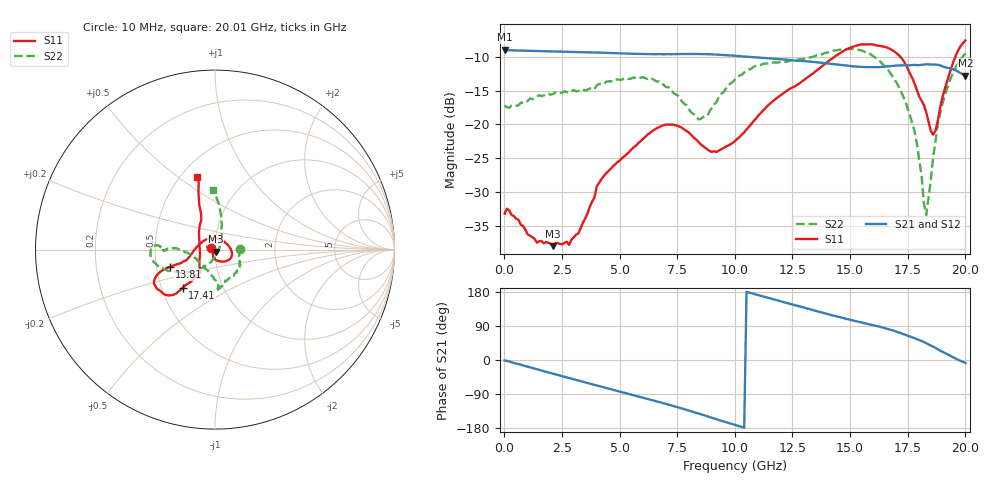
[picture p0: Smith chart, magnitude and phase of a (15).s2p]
! Hittite Microwave Corporation
! 2 Elizabeth Drive
! Chelmsford, MA 01824
! http://www.hittite.com
! Tel: 978-250-3343
! Fax: 978-250-3373
! Device:  HMC424LP3
! Description: 0.5 dB GaAs MMIC 6-Bit Digital Attenuator
! Frequency:  DC -  13.00 GHz
! Package:  LP3  - 3x3 mm Quad Flatpack No-Lead (QFN) Plastic Package: 16 pin
! Ports:  2 RF, 7 DC
!  Pad  1  = Ground
!  Pad  2  = RF IN  = Port 1
!  Pad  3  = Ground
!  Pad  4  = V6
!  Pad  5  = V5
!  Pad  6  = V4
!  Pad  7  = V3
!  Pad  8  = V2
!  Pad  9  = V1
!  Pad 10  = Ground
!  Pad 11  = RF OUT  = Port 2
!  Pad 12  = Ground
!  Pad 15  = VEE
! Control:  -5 Volt control voltage
! State:  13
! Attenuation:  6.5 dB
! Voltages:  Vdd = -5.00 Volts  Idd =  -2.565 mA
!  V1  = -5.00 Volts  I1  =  -1.0 uA
!  V2  = 0.00 Volts  I2  =  29.0 uA
!  V3  = -5.00 Volts  I3  =  -1.0 uA
!  V4  = -5.00 Volts  I4  =  -1.0 uA
!  V5  = 0.00 Volts  I5  =  29.0 uA
!  V6  = 0.00 Volts  I6  =  30.0 uA
! Data:  The device was measured on evaluation board 105354-1.
!  Data was collected using a calibrated network analyzer.
!  The evaluation circuit board was modeled and simulated.  This was use
!  to removed the evaluation board circuit from the measured data.
!  The reference plane is the edge of the package pin.
! Misc:  Lot xxxx, Unit 1
!  Application 20120001, Data collected in Application 20090083
! Date Measured:  2009-09-15
! Date:  2012-05-14  MJV
! Note:
!  Hittite supplies this data as a sample of measured data at the package pin
!  for this product.  Your particular data for this product may vary.
!  Data was taken at 25 degrees C.
!  Hittite reserves the right to change this data at anytime.
# GHz S MA R 50
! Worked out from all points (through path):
!   201 points, 10 MHz to 20.01 GHz, reference 50 ohm
!   highest |S21| = -8.95 dB at 10 MHz (marker M1); lowest = -12.8 dB at 20.01 GHz (marker M2)
!   group delay of S21, straight-line fit = 48.3 ps
!   lowest |S11| = -38.0 dB at 2.11 GHz (marker M3), VSWR 1.03, Z = 50.4 - j1.21 ohm
!   |S11| at or under -10 dB: start of sweep to 14.34 GHz; 17.18 GHz to 19.58 GHz (2.395 GHz wide, 13 % of centre)
!   |S22| runs from -33.4 to -8.8 dB; largest |S21 - S12| = 0.0017
!   S11 on the Smith chart (normalised r, x): 10 MHz: 0.96, +0.01; 13.81 GHz: 0.59, -0.12; 17.41 GHz: 0.64, -0.30; 20.01 GHz: 0.60, +0.59
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0.01  0.02198 161.4  0.3567 -1.3  0.3551 -1.3  0.138 2.1
2.11  0.01265 -71.2  0.3456 -36.1  0.3453 -36.1  0.1677 -39.9
2.81  0.01294 -76.0  0.3433 -47.6  0.3429 -47.6  0.1726 -50.6
3.41  0.01884 -104.4  0.3414 -57.5  0.3411 -57.5  0.1811 -61.0
4.31  0.0415 -104.0  0.3379 -72.1  0.3372 -72.2  0.1989 -77.6
6.71  0.09529 -37.2  0.33 -110.7  0.3295 -110.7  0.2076 -85.4
7.51  0.09781 -14.2  0.3306 -124.3  0.33 -124.3  0.1646 -92.3
8.51  0.07162 28.3  0.3308 -142.9  0.3301 -142.9  0.1094 -134.9
9.21  0.06263 79.0  0.3279 -156.4  0.3274 -156.4  0.1465 -171.0
10.01  0.07537 133.2  0.3211 -171.4  0.3207 -171.4  0.2149 178.0
11.21  0.1255 -172.9  0.3097 168.0  0.3091 168.0  0.2792 -179.6
13.41  0.239 -159.0  0.2892 131.4  0.2886 131.4  0.3157 175.7
13.81  0.2709 -159.1  0.2846 124.8  0.2841 124.8  0.3305 175.8
15.51  0.3895 -150.8  0.2656 99.0  0.2652 99.0  0.351 -169.5
16.71  0.3632 -135.3  0.2686 80.7  0.2683 80.8  0.2446 -148.7
17.41  0.278 -130.3  0.2735 66.4  0.2732 66.5  0.1473 -130.3
17.91  0.1779 -125.9  0.2738 54.7  0.2734 54.8  0.07131 -106.9
18.31  0.123 -134.6  0.2778 44.3  0.2774 44.3  0.0214 -26.0
18.61  0.08406 -177.3  0.2762 35.2  0.276 35.3  0.05764 55.9
19.01  0.1578 122.7  0.2689 21.7  0.2685 21.7  0.1414 74.4
19.61  0.3273 106.3  0.2498 3.0  0.2492 3.0  0.2677 86.5
20.01  0.4164 103.8  0.2294 -7.6  0.2295 -7.6  0.3343 92.4
